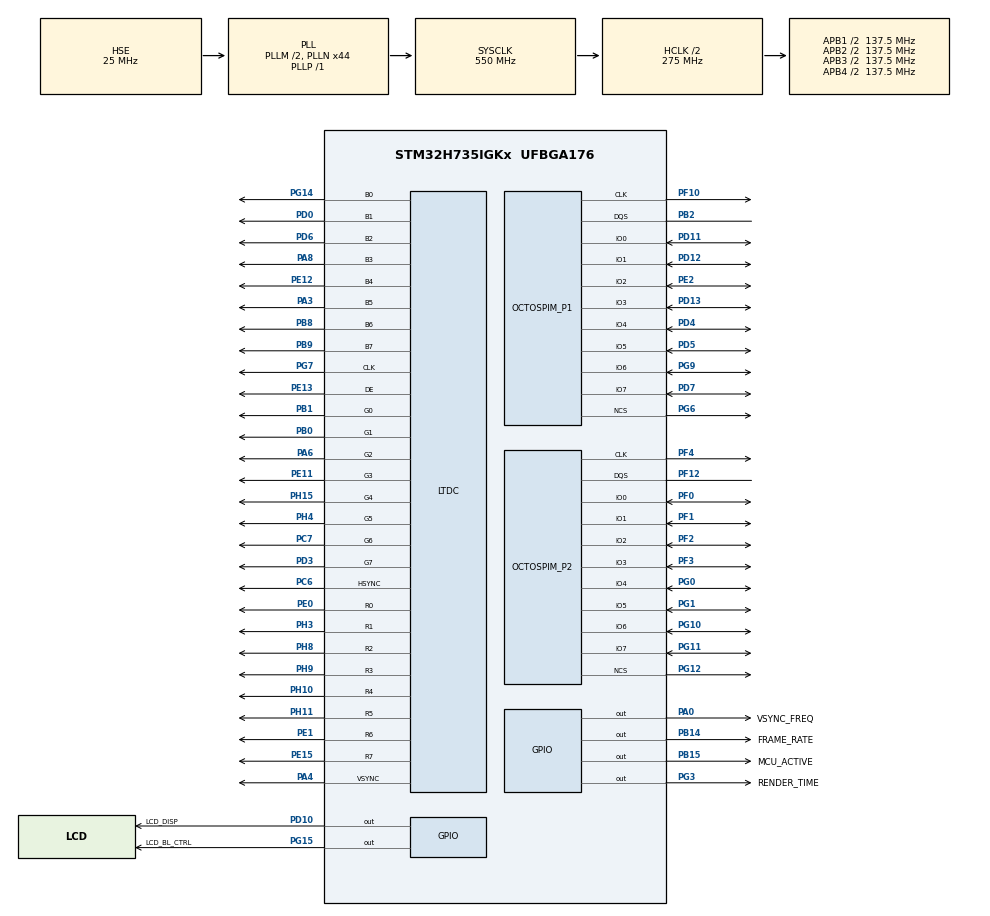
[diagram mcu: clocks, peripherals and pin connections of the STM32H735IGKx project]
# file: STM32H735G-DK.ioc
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CORTEX_M7.AccessPermission-Cortex_Memory_Protection_Unit_Region0_Settings=MPU_REGION_FULL_ACCESS
CORTEX_M7.AccessPermission-Cortex_Memory_Protection_Unit_Region2_Settings=MPU_REGION_FULL_ACCESS
CORTEX_M7.AccessPermission-Cortex_Memory_Protection_Unit_Region4_Settings=MPU_REGION_FULL_ACCESS
CORTEX_M7.BaseAddress-Cortex_Memory_Protection_Unit_Region0_Settings=0x24000000
CORTEX_M7.BaseAddress-Cortex_Memory_Protection_Unit_Region1_Settings=0x70000000
CORTEX_M7.BaseAddress-Cortex_Memory_Protection_Unit_Region2_Settings=0x70000000
CORTEX_M7.BaseAddress-Cortex_Memory_Protection_Unit_Region3_Settings=0x90000000
CORTEX_M7.BaseAddress-Cortex_Memory_Protection_Unit_Region4_Settings=0x90000000
CORTEX_M7.CPU_DCache=Enabled
CORTEX_M7.CPU_ICache=Enabled
CORTEX_M7.DisableExec-Cortex_Memory_Protection_Unit_Region0_Settings=MPU_INSTRUCTION_ACCESS_DISABLE
CORTEX_M7.DisableExec-Cortex_Memory_Protection_Unit_Region1_Settings=MPU_INSTRUCTION_ACCESS_DISABLE
CORTEX_M7.DisableExec-Cortex_Memory_Protection_Unit_Region2_Settings=MPU_INSTRUCTION_ACCESS_DISABLE
CORTEX_M7.DisableExec-Cortex_Memory_Protection_Unit_Region3_Settings=MPU_INSTRUCTION_ACCESS_DISABLE
CORTEX_M7.DisableExec-Cortex_Memory_Protection_Unit_Region4_Settings=MPU_INSTRUCTION_ACCESS_DISABLE
CORTEX_M7.Enable-Cortex_Memory_Protection_Unit_Region0_Settings=MPU_REGION_ENABLE
CORTEX_M7.Enable-Cortex_Memory_Protection_Unit_Region1_Settings=MPU_REGION_ENABLE
CORTEX_M7.Enable-Cortex_Memory_Protection_Unit_Region2_Settings=MPU_REGION_ENABLE
CORTEX_M7.Enable-Cortex_Memory_Protection_Unit_Region3_Settings=MPU_REGION_ENABLE
CORTEX_M7.Enable-Cortex_Memory_Protection_Unit_Region4_Settings=MPU_REGION_ENABLE
CORTEX_M7.IsBufferable-Cortex_Memory_Protection_Unit_Region0_Settings=MPU_ACCESS_BUFFERABLE
CORTEX_M7.IsBufferable-Cortex_Memory_Protection_Unit_Region2_Settings=MPU_ACCESS_BUFFERABLE
CORTEX_M7.IsCacheable-Cortex_Memory_Protection_Unit_Region0_Settings=MPU_ACCESS_CACHEABLE
CORTEX_M7.IsCacheable-Cortex_Memory_Protection_Unit_Region2_Settings=MPU_ACCESS_CACHEABLE
CORTEX_M7.IsCacheable-Cortex_Memory_Protection_Unit_Region4_Settings=MPU_ACCESS_CACHEABLE
CORTEX_M7.MPU_Control=MPU_PRIVILEGED_DEFAULT
CORTEX_M7.Size-Cortex_Memory_Protection_Unit_Region0_Settings=MPU_REGION_SIZE_512KB
CORTEX_M7.Size-Cortex_Memory_Protection_Unit_Region1_Settings=MPU_REGION_SIZE_512MB
CORTEX_M7.Size-Cortex_Memory_Protection_Unit_Region2_Settings=MPU_REGION_SIZE_8MB
CORTEX_M7.Size-Cortex_Memory_Protection_Unit_Region3_Settings=MPU_REGION_SIZE_512MB
CORTEX_M7.Size-Cortex_Memory_Protection_Unit_Region4_Settings=MPU_REGION_SIZE_64MB
DMA2D.ColorMode=DMA2D_OUTPUT_RGB888
DMA2D.Mode=DMA2D_R2M
FREERTOS.Tasks01=defaultTask,24,128,StartDefaultTask,Default,NULL,Dynamic,NULL,NULL;TouchGFXTask,24,1024,TouchGFX_Task,As external,NULL,Dynamic,NULL,NULL;videoTask,8,1024,videoTaskFunc,As external,NULL,Dynamic,NULL,NULL
FREERTOS.configTOTAL_HEAP_SIZE=75000
FREERTOS.configUSE_APPLICATION_TASK_TAG=1
FREERTOS.configUSE_IDLE_HOOK=1
FREERTOS.configUSE_NEWLIB_REENTRANT=1
LIBJPEG.RGB_ORDERING=BGR
LTDC.ActiveH=272
LTDC.ActiveW=480
LTDC.Alpha_L0=255
LTDC.FBStartAdress_L0=0x70000000
LTDC.FBStartAdress_L1=0x70000000
LTDC.HBP=13
LTDC.HFP=32
LTDC.HSync=41
LTDC.ImageHeight_L0=272
LTDC.ImageWidth_L0=480
LTDC.Layers=0
LTDC.PixelFormat_L0=LTDC_PIXEL_FORMAT_RGB888
LTDC.VSync=10
LTDC.WindowX1_L0=480
LTDC.WindowY1_L0=272
Mcu.Family=STM32H7
Mcu.Name=STM32H735IGKx
Mcu.Package=UFBGA176
NVIC.DMA2D_IRQn=true\:5\:0\:true\:false\:true\:false\:true\:true\:true
NVIC.LTDC_IRQn=true\:5\:0\:true\:false\:true\:false\:true\:true\:true
NVIC.PriorityGroup=NVIC_PRIORITYGROUP_4
NVIC.TIM6_DAC_IRQn=true\:0\:0\:false\:false\:true\:false\:false\:true\:true
NVIC.TimeBase=TIM6_DAC_IRQn
NVIC.TimeBaseIP=TIM6
OCTOSPI1.ChipSelectBoundary=0
OCTOSPI1.ChipSelectHighTime=2
OCTOSPI1.ClockPrescaler=2
OCTOSPI1.FifoThreshold=4
OCTOSPI1.MemoryType=HAL_OSPI_MEMTYPE_MACRONIX
OCTOSPI2.AccessTime=6
OCTOSPI2.ChipSelectBoundary=23
OCTOSPI2.ChipSelectHighTime=4
OCTOSPI2.ClkChipSelectHighTime=0
OCTOSPI2.ClockPrescaler=2
OCTOSPI2.DelayBlockBypass=HAL_OSPI_DELAY_BLOCK_USED
OCTOSPI2.DelayHoldQuarterCycle=HAL_OSPI_DHQC_ENABLE
OCTOSPI2.DeviceSize=24
OCTOSPI2.FifoThreshold=4
OCTOSPI2.LatencyMode=HAL_OSPI_FIXED_LATENCY
OCTOSPI2.RWRecoveryTime=3
OCTOSPI2.Refresh=400
OCTOSPI2.WriteZeroLatency=HAL_OSPI_LATENCY_ON_WRITE
PA0.GPIO_Label=VSYNC_FREQ
PA0.GPIO_Speed=GPIO_SPEED_FREQ_VERY_HIGH
PA0.Signal=GPIO_Output
PA13(JTMS/SWDIO).Mode=Serial_Wire
PA13(JTMS/SWDIO).Signal=DEBUG_JTMS-SWDIO
PA14(JTCK/SWCLK).Mode=Serial_Wire
PA14(JTCK/SWCLK).Signal=DEBUG_JTCK-SWCLK
PA3.GPIO_Speed=GPIO_SPEED_FREQ_VERY_HIGH
PA3.Mode=RGB888
PA3.Signal=LTDC_B5
PA4.GPIO_Speed=GPIO_SPEED_FREQ_VERY_HIGH
PA4.Mode=RGB888
PA4.Signal=LTDC_VSYNC
PA6.GPIO_Speed=GPIO_SPEED_FREQ_VERY_HIGH
PA6.Mode=RGB888
PA6.Signal=LTDC_G2
PA8.GPIO_Speed=GPIO_SPEED_FREQ_VERY_HIGH
PA8.Mode=RGB888
PA8.Signal=LTDC_B3
PB0.GPIO_Speed=GPIO_SPEED_FREQ_VERY_HIGH
PB0.Mode=RGB888
PB0.Signal=LTDC_G1
PB1.GPIO_Speed=GPIO_SPEED_FREQ_VERY_HIGH
PB1.Mode=RGB888
PB1.Signal=LTDC_G0
PB14.GPIO_Label=FRAME_RATE
PB14.GPIO_Speed=GPIO_SPEED_FREQ_VERY_HIGH
PB14.Signal=GPIO_Output
PB15.GPIO_Label=MCU_ACTIVE
PB15.GPIO_Speed=GPIO_SPEED_FREQ_VERY_HIGH
PB15.Signal=GPIO_Output
PB2.Mode=OCTOSPI1_Port1_DQS
PB2.Signal=OCTOSPIM_P1_DQS
PB8.GPIO_Speed=GPIO_SPEED_FREQ_VERY_HIGH
PB8.Mode=RGB888
PB8.Signal=LTDC_B6
PB9.GPIO_Speed=GPIO_SPEED_FREQ_VERY_HIGH
PB9.Mode=RGB888
PB9.Signal=LTDC_B7
PC6.GPIO_Speed=GPIO_SPEED_FREQ_VERY_HIGH
PC6.Mode=RGB888
PC6.Signal=LTDC_HSYNC
PC7.GPIO_Speed=GPIO_SPEED_FREQ_VERY_HIGH
PC7.Mode=RGB888
PC7.Signal=LTDC_G6
PD0.GPIO_Speed=GPIO_SPEED_FREQ_VERY_HIGH
PD0.Mode=RGB888
PD0.Signal=LTDC_B1
PD10.GPIO_Label=LCD_DISP
PD10.GPIO_PuPd=GPIO_NOPULL
PD10.GPIO_Speed=GPIO_SPEED_FREQ_LOW
PD10.PinState=GPIO_PIN_RESET
PD10.Signal=GPIO_Output
PD11.Mode=OCTOSPI1_IOL_Port1L
PD11.Signal=OCTOSPIM_P1_IO0
PD12.Mode=OCTOSPI1_IOL_Port1L
PD12.Signal=OCTOSPIM_P1_IO1
PD13.Mode=OCTOSPI1_IOL_Port1L
PD13.Signal=OCTOSPIM_P1_IO3
PD3.GPIO_Speed=GPIO_SPEED_FREQ_VERY_HIGH
PD3.Mode=RGB888
PD3.Signal=LTDC_G7
PD4.Mode=OCTOSPI1_IOH_Port1H
PD4.Signal=OCTOSPIM_P1_IO4
PD5.Mode=OCTOSPI1_IOH_Port1H
PD5.Signal=OCTOSPIM_P1_IO5
PD6.GPIO_Speed=GPIO_SPEED_FREQ_VERY_HIGH
PD6.Mode=RGB888
PD6.Signal=LTDC_B2
PD7.Mode=OCTOSPI1_IOH_Port1H
PD7.Signal=OCTOSPIM_P1_IO7
PE0.GPIO_Speed=GPIO_SPEED_FREQ_VERY_HIGH
PE0.Mode=RGB888
PE0.Signal=LTDC_R0
PE1.GPIO_Speed=GPIO_SPEED_FREQ_VERY_HIGH
PE1.Mode=RGB888
PE1.Signal=LTDC_R6
PE11.GPIO_Speed=GPIO_SPEED_FREQ_VERY_HIGH
PE11.Mode=RGB888
PE11.Signal=LTDC_G3
PE12.GPIO_Speed=GPIO_SPEED_FREQ_VERY_HIGH
PE12.Mode=RGB888
PE12.Signal=LTDC_B4
PE13.GPIO_Speed=GPIO_SPEED_FREQ_VERY_HIGH
PE13.Mode=RGB888
PE13.Signal=LTDC_DE
PE15.GPIO_Speed=GPIO_SPEED_FREQ_VERY_HIGH
PE15.Mode=RGB888
PE15.Signal=LTDC_R7
PE2.Mode=OCTOSPI1_IOL_Port1L
PE2.Signal=OCTOSPIM_P1_IO2
PF0.Mode=OCTOSPI2_IOL_Port2L
PF0.Signal=OCTOSPIM_P2_IO0
PF1.Mode=OCTOSPI2_IOL_Port2L
PF1.Signal=OCTOSPIM_P2_IO1
PF10.Mode=O1_P1_CLK
PF10.Signal=OCTOSPIM_P1_CLK
PF12.Mode=OCTOSPI2_Port2_DQS
PF12.Signal=OCTOSPIM_P2_DQS
PF2.Mode=OCTOSPI2_IOL_Port2L
PF2.Signal=OCTOSPIM_P2_IO2
PF3.Mode=OCTOSPI2_IOL_Port2L
PF3.Signal=OCTOSPIM_P2_IO3
PF4.Mode=O2_P2_CLK
PF4.Signal=OCTOSPIM_P2_CLK
PG0.Mode=OCTOSPI2_IOH_Port2H
PG0.Signal=OCTOSPIM_P2_IO4
PG1.Mode=OCTOSPI2_IOH_Port2H
PG1.Signal=OCTOSPIM_P2_IO5
PG10.Mode=OCTOSPI2_IOH_Port2H
PG10.Signal=OCTOSPIM_P2_IO6
PG11.Mode=OCTOSPI2_IOH_Port2H
PG11.Signal=OCTOSPIM_P2_IO7
PG12.Mode=OCTOSPI2_Port2_NCS
PG12.Signal=OCTOSPIM_P2_NCS
PG14.GPIO_Speed=GPIO_SPEED_FREQ_VERY_HIGH
PG14.Mode=RGB888
PG14.Signal=LTDC_B0
PG15.GPIO_Label=LCD_BL_CTRL
PG15.Signal=GPIO_Output
PG3.GPIO_Label=RENDER_TIME
PG3.GPIO_Speed=GPIO_SPEED_FREQ_VERY_HIGH
PG3.Signal=GPIO_Output
PG6.Mode=OCTOSPI1_Port1_NCS
PG6.Signal=OCTOSPIM_P1_NCS
PG7.GPIO_Speed=GPIO_SPEED_FREQ_VERY_HIGH
PG7.Mode=RGB888
PG7.Signal=LTDC_CLK
PG9.Mode=OCTOSPI1_IOH_Port1H
PG9.Signal=OCTOSPIM_P1_IO6
PH0-OSC_IN.Mode=HSE-External-Oscillator
PH0-OSC_IN.Signal=RCC_OSC_IN
PH1-OSC_OUT.Mode=HSE-External-Oscillator
PH1-OSC_OUT.Signal=RCC_OSC_OUT
PH10.GPIO_Speed=GPIO_SPEED_FREQ_VERY_HIGH
PH10.Mode=RGB888
PH10.Signal=LTDC_R4
PH11.GPIO_Speed=GPIO_SPEED_FREQ_VERY_HIGH
PH11.Mode=RGB888
PH11.Signal=LTDC_R5
PH15.GPIO_Speed=GPIO_SPEED_FREQ_VERY_HIGH
PH15.Mode=RGB888
PH15.Signal=LTDC_G4
PH3.GPIO_Speed=GPIO_SPEED_FREQ_VERY_HIGH
PH3.Mode=RGB888
PH3.Signal=LTDC_R1
PH4.GPIO_Speed=GPIO_SPEED_FREQ_VERY_HIGH
PH4.Mode=RGB888
PH4.Signal=LTDC_G5
PH8.GPIO_Speed=GPIO_SPEED_FREQ_VERY_HIGH
PH8.Mode=RGB888
PH8.Signal=LTDC_R2
PH9.GPIO_Speed=GPIO_SPEED_FREQ_VERY_HIGH
PH9.Mode=RGB888
PH9.Signal=LTDC_R3
ProjectManager.HeapSize=0x1000
ProjectManager.StackSize=0x1000
ProjectManager.TargetToolchain=STM32CubeIDE
RCC.ADCFreq_Value=200000000
RCC.APB1Freq_Value=137500000
RCC.APB2Freq_Value=137500000
RCC.APB3Freq_Value=137500000
RCC.APB4Freq_Value=137500000
RCC.CortexFreq_Value=550000000
RCC.D1PPRE=RCC_APB3_DIV2
RCC.D2PPRE1=RCC_APB1_DIV2
RCC.D2PPRE2=RCC_APB2_DIV2
RCC.D3PPRE=RCC_APB4_DIV2
RCC.DIVM1=2
RCC.DIVM2=5
RCC.DIVM3=25
RCC.DIVN1=44
RCC.DIVN2=80
RCC.DIVN3=288
RCC.DIVP1=1
RCC.DIVR3=30
RCC.HCLKFreq_Value=275000000
RCC.HPRE=RCC_HCLK_DIV2
RCC.PLL2FRACN=0
RCC.PLL3FRACN=0
RCC.PLLFRACN=0
RCC.PLLSourceVirtual=RCC_PLLSOURCE_HSE
RCC.QSPICLockSelection=RCC_OSPICLKSOURCE_PLL2
RCC.SYSCLKFreq_VALUE=550000000
RCC.SYSCLKSource=RCC_SYSCLKSOURCE_PLLCLK
RCC.SupplySource=PWR_DIRECT_SMPS_SUPPLY
RCC.USBFreq_Value=275000000
STMicroelectronics.X-CUBE-TOUCHGFX.4.24.0.ApplicationCcGraphicsJjApplication=TouchGFXOoGenerator
STMicroelectronics.X-CUBE-TOUCHGFX.4.24.0.tgfx_address1=0x70000000
STMicroelectronics.X-CUBE-TOUCHGFX.4.24.0.tgfx_address2=0x70060000
STMicroelectronics.X-CUBE-TOUCHGFX.4.24.0.tgfx_buffering_strategy=Double
STMicroelectronics.X-CUBE-TOUCHGFX.4.24.0.tgfx_display_interface=disp_ltdc
STMicroelectronics.X-CUBE-TOUCHGFX.4.24.0.tgfx_hardware_accelerator=dma_2d
STMicroelectronics.X-CUBE-TOUCHGFX.4.24.0.tgfx_location=Allocate
STMicroelectronics.X-CUBE-TOUCHGFX.4.24.0.tgfx_vector_fonts=Enabled
STMicroelectronics.X-CUBE-TOUCHGFX.4.24.0.tgfx_vector_rendering=Software
STMicroelectronics.X-CUBE-TOUCHGFX.4.24.0.tgfx_video=Software
STMicroelectronics.X-CUBE-TOUCHGFX.4.24.0.tgfx_video_buffer_format=RGB888\:3
STMicroelectronics.X-CUBE-TOUCHGFX.4.24.0.tgfx_video_height=272
STMicroelectronics.X-CUBE-TOUCHGFX.4.24.0.tgfx_video_strategy=1
STMicroelectronics.X-CUBE-TOUCHGFX.4.24.0.tgfx_video_width=480
STMicroelectronics.X-CUBE-TOUCHGFX.4.24.0.tgfx_vsync=vsync_ltdc
VP_CRC_VS_CRC.Mode=CRC_Activate
VP_DMA2D_VS_DMA2D.Mode=DMA2D_Activate
VP_FREERTOS_VS_CMSIS_V2.Mode=CMSIS_V2
VP_LIBJPEG_VS_JPEGLIB.Mode=Enabled
VP_MEMORYMAP_VS_MEMORYMAP.Mode=CurAppReg
VP_OCTOSPI1_VS_octo.Mode=octo_mode
VP_OCTOSPI2_VS_octo.Mode=hyperbus_mode
VP_STMicroelectronics.X-CUBE-TOUCHGFX_VS_GraphicsJjApplication_4.24.0.Mode=GraphicsJjApplication
VP_SYS_VS_tim6.Mode=TIM6
board=custom

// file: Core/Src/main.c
/* USER CODE BEGIN Header */
/**
  ******************************************************************************
  * @file           : main.c
  * @brief          : Main program body
  ******************************************************************************
  * @attention
  *
  * <h2><center>&copy; Copyright (c) 2020 STMicroelectronics.
  * All rights reserved.</center></h2>
  *
  * This software component is licensed by ST under Ultimate Liberty license
  * SLA0044, the "License"; You may not use this file except in compliance with
  * the License. You may obtain a copy of the License at:
  *                             www.st.com/SLA0044
  *
  ******************************************************************************
  */
/* USER CODE END Header */
#include "main.h"
#include "cmsis_os.h"
#include "libjpeg.h"
#include "app_touchgfx.h"

/* USER CODE BEGIN Includes */
#include "stm32h735g_discovery_ospi.h"
#include "stm32h7xx_hal_ospi.h"
/* USER CODE END Includes */

CRC_HandleTypeDef hcrc;

DMA2D_HandleTypeDef hdma2d;

LTDC_HandleTypeDef hltdc;

OSPI_HandleTypeDef hospi1;
OSPI_HandleTypeDef hospi2;

/* Definitions for defaultTask */
osThreadId_t defaultTaskHandle;
const osThreadAttr_t defaultTask_attributes = {
  .name = "defaultTask",
  .stack_size = 128 * 4,
  .priority = (osPriority_t) osPriorityNormal,
};
/* Definitions for TouchGFXTask */
osThreadId_t TouchGFXTaskHandle;
const osThreadAttr_t TouchGFXTask_attributes = {
  .name = "TouchGFXTask",
  .stack_size = 1024 * 4,
  .priority = (osPriority_t) osPriorityNormal,
};
/* Definitions for videoTask */
osThreadId_t videoTaskHandle;
const osThreadAttr_t videoTask_attributes = {
  .name = "videoTask",
  .stack_size = 1024 * 4,
  .priority = (osPriority_t) osPriorityLow,
};

void SystemClock_Config(void);
void PeriphCommonClock_Config(void);
static void MPU_Config(void);
static void MX_GPIO_Init(void);
static void MX_CRC_Init(void);
static void MX_DMA2D_Init(void);
static void MX_LTDC_Init(void);
static void MX_OCTOSPI1_Init(void);
static void MX_OCTOSPI2_Init(void);
void StartDefaultTask(void *argument);
extern void TouchGFX_Task(void *argument);
extern void videoTaskFunc(void *argument);

int main(void)
{

  /* MPU Configuration--------------------------------------------------------*/
  MPU_Config();

  /* Enable the CPU Cache */

  /* Enable I-Cache---------------------------------------------------------*/
  SCB_EnableICache();

  /* Enable D-Cache---------------------------------------------------------*/
  SCB_EnableDCache();

  /* MCU Configuration--------------------------------------------------------*/

  /* Reset of all peripherals, Initializes the Flash interface and the Systick. */
  HAL_Init();

  /* Configure the system clock */
  SystemClock_Config();

  /* Configure the peripherals common clocks */
  PeriphCommonClock_Config();

  /* Initialize all configured peripherals */
  MX_GPIO_Init();
  MX_CRC_Init();
  MX_DMA2D_Init();
  MX_LTDC_Init();
  MX_OCTOSPI1_Init();
  MX_OCTOSPI2_Init();
  MX_LIBJPEG_Init();
  MX_TouchGFX_Init();
  /* Call PreOsInit function */
  MX_TouchGFX_PreOSInit();

  /* Init scheduler */
  osKernelInitialize();

  /* Create the thread(s) */
  /* creation of defaultTask */
  defaultTaskHandle = osThreadNew(StartDefaultTask, NULL, &defaultTask_attributes);

  /* creation of TouchGFXTask */
  TouchGFXTaskHandle = osThreadNew(TouchGFX_Task, NULL, &TouchGFXTask_attributes);

  /* creation of videoTask */
  videoTaskHandle = osThreadNew(videoTaskFunc, NULL, &videoTask_attributes);

  /* Start scheduler */
  osKernelStart();

  /* We should never get here as control is now taken by the scheduler */

  /* Infinite loop */
  while (1)
  {

  }
}

void SystemClock_Config(void)
{
  RCC_OscInitTypeDef RCC_OscInitStruct = {0};
  RCC_ClkInitTypeDef RCC_ClkInitStruct = {0};

  /** Supply configuration update enable
  */
  HAL_PWREx_ConfigSupply(PWR_DIRECT_SMPS_SUPPLY);

  /** Configure the main internal regulator output voltage
  */
  __HAL_PWR_VOLTAGESCALING_CONFIG(PWR_REGULATOR_VOLTAGE_SCALE0);

  while(!__HAL_PWR_GET_FLAG(PWR_FLAG_VOSRDY)) {}

  /** Initializes the RCC Oscillators according to the specified parameters
  * in the RCC_OscInitTypeDef structure.
  */
  RCC_OscInitStruct.OscillatorType = RCC_OSCILLATORTYPE_HSE;
  RCC_OscInitStruct.HSEState = RCC_HSE_ON;
  RCC_OscInitStruct.PLL.PLLState = RCC_PLL_ON;
  RCC_OscInitStruct.PLL.PLLSource = RCC_PLLSOURCE_HSE;
  RCC_OscInitStruct.PLL.PLLM = 2;
  RCC_OscInitStruct.PLL.PLLN = 44;
  RCC_OscInitStruct.PLL.PLLP = 1;
  RCC_OscInitStruct.PLL.PLLQ = 2;
  RCC_OscInitStruct.PLL.PLLR = 2;
  RCC_OscInitStruct.PLL.PLLRGE = RCC_PLL1VCIRANGE_3;
  RCC_OscInitStruct.PLL.PLLVCOSEL = RCC_PLL1VCOWIDE;
  RCC_OscInitStruct.PLL.PLLFRACN = 0;
  if (HAL_RCC_OscConfig(&RCC_OscInitStruct) != HAL_OK)
  {
    Error_Handler();
  }

  /** Initializes the CPU, AHB and APB buses clocks
  */
  RCC_ClkInitStruct.ClockType = RCC_CLOCKTYPE_HCLK|RCC_CLOCKTYPE_SYSCLK
                              |RCC_CLOCKTYPE_PCLK1|RCC_CLOCKTYPE_PCLK2
                              |RCC_CLOCKTYPE_D3PCLK1|RCC_CLOCKTYPE_D1PCLK1;
  RCC_ClkInitStruct.SYSCLKSource = RCC_SYSCLKSOURCE_PLLCLK;
  RCC_ClkInitStruct.SYSCLKDivider = RCC_SYSCLK_DIV1;
  RCC_ClkInitStruct.AHBCLKDivider = RCC_HCLK_DIV2;
  RCC_ClkInitStruct.APB3CLKDivider = RCC_APB3_DIV2;
  RCC_ClkInitStruct.APB1CLKDivider = RCC_APB1_DIV2;
  RCC_ClkInitStruct.APB2CLKDivider = RCC_APB2_DIV2;
  RCC_ClkInitStruct.APB4CLKDivider = RCC_APB4_DIV2;

  if (HAL_RCC_ClockConfig(&RCC_ClkInitStruct, FLASH_LATENCY_3) != HAL_OK)
  {
    Error_Handler();
  }
}

void PeriphCommonClock_Config(void)
{
  RCC_PeriphCLKInitTypeDef PeriphClkInitStruct = {0};

  /** Initializes the peripherals clock
  */
  PeriphClkInitStruct.PeriphClockSelection = RCC_PERIPHCLK_OSPI;
  PeriphClkInitStruct.PLL2.PLL2M = 5;
  PeriphClkInitStruct.PLL2.PLL2N = 80;
  PeriphClkInitStruct.PLL2.PLL2P = 2;
  PeriphClkInitStruct.PLL2.PLL2Q = 2;
  PeriphClkInitStruct.PLL2.PLL2R = 2;
  PeriphClkInitStruct.PLL2.PLL2RGE = RCC_PLL2VCIRANGE_2;
  PeriphClkInitStruct.PLL2.PLL2VCOSEL = RCC_PLL2VCOWIDE;
  PeriphClkInitStruct.PLL2.PLL2FRACN = 0;
  PeriphClkInitStruct.OspiClockSelection = RCC_OSPICLKSOURCE_PLL2;
  if (HAL_RCCEx_PeriphCLKConfig(&PeriphClkInitStruct) != HAL_OK)
  {
    Error_Handler();
  }
}

static void MX_CRC_Init(void)
{

  hcrc.Instance = CRC;
  hcrc.Init.DefaultPolynomialUse = DEFAULT_POLYNOMIAL_ENABLE;
  hcrc.Init.DefaultInitValueUse = DEFAULT_INIT_VALUE_ENABLE;
  hcrc.Init.InputDataInversionMode = CRC_INPUTDATA_INVERSION_NONE;
  hcrc.Init.OutputDataInversionMode = CRC_OUTPUTDATA_INVERSION_DISABLE;
  hcrc.InputDataFormat = CRC_INPUTDATA_FORMAT_BYTES;
  if (HAL_CRC_Init(&hcrc) != HAL_OK)
  {
    Error_Handler();
  }

}

static void MX_DMA2D_Init(void)
{

  hdma2d.Instance = DMA2D;
  hdma2d.Init.Mode = DMA2D_R2M;
  hdma2d.Init.ColorMode = DMA2D_OUTPUT_RGB888;
  hdma2d.Init.OutputOffset = 0;
  if (HAL_DMA2D_Init(&hdma2d) != HAL_OK)
  {
    Error_Handler();
  }

}

static void MX_LTDC_Init(void)
{

  LTDC_LayerCfgTypeDef pLayerCfg = {0};

  hltdc.Instance = LTDC;
  hltdc.Init.HSPolarity = LTDC_HSPOLARITY_AL;
  hltdc.Init.VSPolarity = LTDC_VSPOLARITY_AL;
  hltdc.Init.DEPolarity = LTDC_DEPOLARITY_AL;
  hltdc.Init.PCPolarity = LTDC_PCPOLARITY_IPC;
  hltdc.Init.HorizontalSync = 40;
  hltdc.Init.VerticalSync = 9;
  hltdc.Init.AccumulatedHBP = 53;
  hltdc.Init.AccumulatedVBP = 11;
  hltdc.Init.AccumulatedActiveW = 533;
  hltdc.Init.AccumulatedActiveH = 283;
  hltdc.Init.TotalWidth = 565;
  hltdc.Init.TotalHeigh = 285;
  hltdc.Init.Backcolor.Blue = 0;
  hltdc.Init.Backcolor.Green = 0;
  hltdc.Init.Backcolor.Red = 0;
  if (HAL_LTDC_Init(&hltdc) != HAL_OK)
  {
    Error_Handler();
  }
  pLayerCfg.WindowX0 = 0;
  pLayerCfg.WindowX1 = 480;
  pLayerCfg.WindowY0 = 0;
  pLayerCfg.WindowY1 = 272;
  pLayerCfg.PixelFormat = LTDC_PIXEL_FORMAT_RGB888;
  pLayerCfg.Alpha = 255;
  pLayerCfg.Alpha0 = 0;
  pLayerCfg.BlendingFactor1 = LTDC_BLENDING_FACTOR1_CA;
  pLayerCfg.BlendingFactor2 = LTDC_BLENDING_FACTOR2_CA;
  pLayerCfg.FBStartAdress = 0x70000000;
  pLayerCfg.ImageWidth = 480;
  pLayerCfg.ImageHeight = 272;
  pLayerCfg.Backcolor.Blue = 0;
  pLayerCfg.Backcolor.Green = 0;
  pLayerCfg.Backcolor.Red = 0;
  if (HAL_LTDC_ConfigLayer(&hltdc, &pLayerCfg, 0) != HAL_OK)
  {
    Error_Handler();
  }

}

static void MX_OCTOSPI1_Init(void)
{

  /* USER CODE BEGIN OCTOSPI1_Init 0 */
  BSP_OSPI_NOR_Init_t ospi_nor_int;
  /* USER CODE END OCTOSPI1_Init 0 */

  OSPIM_CfgTypeDef sOspiManagerCfg = {0};

  /* OCTOSPI1 parameter configuration*/
  hospi1.Instance = OCTOSPI1;
  hospi1.Init.FifoThreshold = 4;
  hospi1.Init.DualQuad = HAL_OSPI_DUALQUAD_DISABLE;
  hospi1.Init.MemoryType = HAL_OSPI_MEMTYPE_MACRONIX;
  hospi1.Init.DeviceSize = 32;
  hospi1.Init.ChipSelectHighTime = 2;
  hospi1.Init.FreeRunningClock = HAL_OSPI_FREERUNCLK_DISABLE;
  hospi1.Init.ClockMode = HAL_OSPI_CLOCK_MODE_0;
  hospi1.Init.WrapSize = HAL_OSPI_WRAP_NOT_SUPPORTED;
  hospi1.Init.ClockPrescaler = 2;
  hospi1.Init.SampleShifting = HAL_OSPI_SAMPLE_SHIFTING_NONE;
  hospi1.Init.DelayHoldQuarterCycle = HAL_OSPI_DHQC_DISABLE;
  hospi1.Init.ChipSelectBoundary = 0;
  hospi1.Init.DelayBlockBypass = HAL_OSPI_DELAY_BLOCK_BYPASSED;
  hospi1.Init.MaxTran = 0;
  hospi1.Init.Refresh = 0;
  if (HAL_OSPI_Init(&hospi1) != HAL_OK)
  {
    Error_Handler();
  }
  sOspiManagerCfg.ClkPort = 1;
  sOspiManagerCfg.DQSPort = 1;
  sOspiManagerCfg.NCSPort = 1;
  sOspiManagerCfg.IOLowPort = HAL_OSPIM_IOPORT_1_LOW;
  sOspiManagerCfg.IOHighPort = HAL_OSPIM_IOPORT_1_HIGH;
  if (HAL_OSPIM_Config(&hospi1, &sOspiManagerCfg, HAL_OSPI_TIMEOUT_DEFAULT_VALUE) != HAL_OK)
  {
    Error_Handler();
  }
  /* USER CODE BEGIN OCTOSPI1_Init 2 */
  HAL_OSPI_DeInit(&hospi1);
  ospi_nor_int.InterfaceMode = BSP_OSPI_NOR_OPI_MODE;
  ospi_nor_int.TransferRate  = BSP_OSPI_NOR_DTR_TRANSFER;
  BSP_OSPI_NOR_DeInit(0);
  if(BSP_OSPI_NOR_Init(0, &ospi_nor_int) != BSP_ERROR_NONE)
  {
    Error_Handler();
  }
  if(BSP_OSPI_NOR_EnableMemoryMappedMode(0) != BSP_ERROR_NONE)
  {
    Error_Handler();
  }
  /* USER CODE END OCTOSPI1_Init 2 */

}

static void MX_OCTOSPI2_Init(void)
{

  /* USER CODE BEGIN OCTOSPI2_Init 0 */
  BSP_OSPI_RAM_Init_t ospi_ram_init;
  /* USER CODE END OCTOSPI2_Init 0 */

  OSPIM_CfgTypeDef sOspiManagerCfg = {0};
  OSPI_HyperbusCfgTypeDef sHyperBusCfg = {0};

  /* USER CODE BEGIN OCTOSPI2_Init 1 */
  OSPI_HyperbusCmdTypeDef sCommand = {0};
  OSPI_MemoryMappedTypeDef sMemMappedCfg = {0};
  /* USER CODE END OCTOSPI2_Init 1 */
  /* OCTOSPI2 parameter configuration*/
  hospi2.Instance = OCTOSPI2;
  hospi2.Init.FifoThreshold = 4;
  hospi2.Init.DualQuad = HAL_OSPI_DUALQUAD_DISABLE;
  hospi2.Init.MemoryType = HAL_OSPI_MEMTYPE_HYPERBUS;
  hospi2.Init.DeviceSize = 24;
  hospi2.Init.ChipSelectHighTime = 4;
  hospi2.Init.FreeRunningClock = HAL_OSPI_FREERUNCLK_DISABLE;
  hospi2.Init.ClockMode = HAL_OSPI_CLOCK_MODE_0;
  hospi2.Init.WrapSize = HAL_OSPI_WRAP_NOT_SUPPORTED;
  hospi2.Init.ClockPrescaler = 2;
  hospi2.Init.SampleShifting = HAL_OSPI_SAMPLE_SHIFTING_NONE;
  hospi2.Init.DelayHoldQuarterCycle = HAL_OSPI_DHQC_ENABLE;
  hospi2.Init.ChipSelectBoundary = 23;
  hospi2.Init.DelayBlockBypass = HAL_OSPI_DELAY_BLOCK_USED;
  hospi2.Init.MaxTran = 0;
  hospi2.Init.Refresh = 400;
  if (HAL_OSPI_Init(&hospi2) != HAL_OK)
  {
    Error_Handler();
  }
  sOspiManagerCfg.ClkPort = 2;
  sOspiManagerCfg.DQSPort = 2;
  sOspiManagerCfg.NCSPort = 2;
  sOspiManagerCfg.IOLowPort = HAL_OSPIM_IOPORT_2_LOW;
  sOspiManagerCfg.IOHighPort = HAL_OSPIM_IOPORT_2_HIGH;
  if (HAL_OSPIM_Config(&hospi2, &sOspiManagerCfg, HAL_OSPI_TIMEOUT_DEFAULT_VALUE) != HAL_OK)
  {
    Error_Handler();
  }
  sHyperBusCfg.RWRecoveryTime = 3;
  sHyperBusCfg.AccessTime = 6;
  sHyperBusCfg.WriteZeroLatency = HAL_OSPI_LATENCY_ON_WRITE;
  sHyperBusCfg.LatencyMode = HAL_OSPI_FIXED_LATENCY;
  if (HAL_OSPI_HyperbusCfg(&hospi2, &sHyperBusCfg, HAL_OSPI_TIMEOUT_DEFAULT_VALUE) != HAL_OK)
  {
    Error_Handler();
  }
  /* USER CODE BEGIN OCTOSPI2_Init 2 */
  sCommand.AddressSpace = HAL_OSPI_MEMORY_ADDRESS_SPACE;
  sCommand.AddressSize  = HAL_OSPI_ADDRESS_32_BITS;
  sCommand.DQSMode      = HAL_OSPI_DQS_ENABLE;
  sCommand.Address      = 0;
  sCommand.NbData       = 1;

  if (HAL_OSPI_HyperbusCmd(&hospi2, &sCommand, HAL_OSPI_TIMEOUT_DEFAULT_VALUE) != HAL_OK)
  {
    Error_Handler();
  }

  sMemMappedCfg.TimeOutActivation = HAL_OSPI_TIMEOUT_COUNTER_DISABLE;

  if (HAL_OSPI_MemoryMapped(&hospi2, &sMemMappedCfg) != HAL_OK)
  {
    Error_Handler();
  }

  /* USER CODE END OCTOSPI2_Init 2 */

}

static void MX_GPIO_Init(void)
{
  GPIO_InitTypeDef GPIO_InitStruct = {0};

  /* GPIO Ports Clock Enable */
  __HAL_RCC_GPIOB_CLK_ENABLE();
  __HAL_RCC_GPIOG_CLK_ENABLE();
  __HAL_RCC_GPIOD_CLK_ENABLE();
  __HAL_RCC_GPIOA_CLK_ENABLE();
  __HAL_RCC_GPIOE_CLK_ENABLE();
  __HAL_RCC_GPIOH_CLK_ENABLE();
  __HAL_RCC_GPIOC_CLK_ENABLE();
  __HAL_RCC_GPIOF_CLK_ENABLE();

  /*Configure GPIO pin Output Level */
  HAL_GPIO_WritePin(GPIOG, LCD_BL_CTRL_Pin|RENDER_TIME_Pin, GPIO_PIN_RESET);

  /*Configure GPIO pin Output Level */
  HAL_GPIO_WritePin(GPIOB, MCU_ACTIVE_Pin|FRAME_RATE_Pin, GPIO_PIN_RESET);

  /*Configure GPIO pin Output Level */
  HAL_GPIO_WritePin(LCD_DISP_GPIO_Port, LCD_DISP_Pin, GPIO_PIN_RESET);

  /*Configure GPIO pin Output Level */
  HAL_GPIO_WritePin(VSYNC_FREQ_GPIO_Port, VSYNC_FREQ_Pin, GPIO_PIN_RESET);

  /*Configure GPIO pin : LCD_BL_CTRL_Pin */
  GPIO_InitStruct.Pin = LCD_BL_CTRL_Pin;
  GPIO_InitStruct.Mode = GPIO_MODE_OUTPUT_PP;
  GPIO_InitStruct.Pull = GPIO_NOPULL;
  GPIO_InitStruct.Speed = GPIO_SPEED_FREQ_LOW;
  HAL_GPIO_Init(LCD_BL_CTRL_GPIO_Port, &GPIO_InitStruct);

  /*Configure GPIO pin : RENDER_TIME_Pin */
  GPIO_InitStruct.Pin = RENDER_TIME_Pin;
  GPIO_InitStruct.Mode = GPIO_MODE_OUTPUT_PP;
  GPIO_InitStruct.Pull = GPIO_NOPULL;
  GPIO_InitStruct.Speed = GPIO_SPEED_FREQ_VERY_HIGH;
  HAL_GPIO_Init(RENDER_TIME_GPIO_Port, &GPIO_InitStruct);

  /*Configure GPIO pins : MCU_ACTIVE_Pin FRAME_RATE_Pin */
  GPIO_InitStruct.Pin = MCU_ACTIVE_Pin|FRAME_RATE_Pin;
  GPIO_InitStruct.Mode = GPIO_MODE_OUTPUT_PP;
  GPIO_InitStruct.Pull = GPIO_NOPULL;
  GPIO_InitStruct.Speed = GPIO_SPEED_FREQ_VERY_HIGH;
  HAL_GPIO_Init(GPIOB, &GPIO_InitStruct);

  /*Configure GPIO pin : LCD_DISP_Pin */
  GPIO_InitStruct.Pin = LCD_DISP_Pin;
  GPIO_InitStruct.Mode = GPIO_MODE_OUTPUT_PP;
  GPIO_InitStruct.Pull = GPIO_NOPULL;
  GPIO_InitStruct.Speed = GPIO_SPEED_FREQ_LOW;
  HAL_GPIO_Init(LCD_DISP_GPIO_Port, &GPIO_InitStruct);

  /*Configure GPIO pin : VSYNC_FREQ_Pin */
  GPIO_InitStruct.Pin = VSYNC_FREQ_Pin;
  GPIO_InitStruct.Mode = GPIO_MODE_OUTPUT_PP;
  GPIO_InitStruct.Pull = GPIO_NOPULL;
  GPIO_InitStruct.Speed = GPIO_SPEED_FREQ_VERY_HIGH;
  HAL_GPIO_Init(VSYNC_FREQ_GPIO_Port, &GPIO_InitStruct);

}

void StartDefaultTask(void *argument)
{
  /* USER CODE BEGIN 5 */
  /* Infinite loop */
  for(;;)
  {
    osDelay(100);
  }
  /* USER CODE END 5 */
}

 /* MPU Configuration */

void MPU_Config(void)
{
  MPU_Region_InitTypeDef MPU_InitStruct = {0};

  /* Disables the MPU */
  HAL_MPU_Disable();

  /** Initializes and configures the Region and the memory to be protected
  */
  MPU_InitStruct.Enable = MPU_REGION_ENABLE;
  MPU_InitStruct.Number = MPU_REGION_NUMBER0;
  MPU_InitStruct.BaseAddress = 0x24000000;
  MPU_InitStruct.Size = MPU_REGION_SIZE_512KB;
  MPU_InitStruct.SubRegionDisable = 0x0;
  MPU_InitStruct.TypeExtField = MPU_TEX_LEVEL0;
  MPU_InitStruct.AccessPermission = MPU_REGION_FULL_ACCESS;
  MPU_InitStruct.DisableExec = MPU_INSTRUCTION_ACCESS_DISABLE;
  MPU_InitStruct.IsShareable = MPU_ACCESS_NOT_SHAREABLE;
  MPU_InitStruct.IsCacheable = MPU_ACCESS_CACHEABLE;
  MPU_InitStruct.IsBufferable = MPU_ACCESS_BUFFERABLE;

  HAL_MPU_ConfigRegion(&MPU_InitStruct);

  /** Initializes and configures the Region and the memory to be protected
  */
  MPU_InitStruct.Number = MPU_REGION_NUMBER1;
  MPU_InitStruct.BaseAddress = 0x70000000;
  MPU_InitStruct.Size = MPU_REGION_SIZE_512MB;
  MPU_InitStruct.AccessPermission = MPU_REGION_NO_ACCESS;
  MPU_InitStruct.IsCacheable = MPU_ACCESS_NOT_CACHEABLE;
  MPU_InitStruct.IsBufferable = MPU_ACCESS_NOT_BUFFERABLE;

  HAL_MPU_ConfigRegion(&MPU_InitStruct);

  /** Initializes and configures the Region and the memory to be protected
  */
  MPU_InitStruct.Number = MPU_REGION_NUMBER2;
  MPU_InitStruct.Size = MPU_REGION_SIZE_8MB;
  MPU_InitStruct.AccessPermission = MPU_REGION_FULL_ACCESS;
  MPU_InitStruct.IsCacheable = MPU_ACCESS_CACHEABLE;
  MPU_InitStruct.IsBufferable = MPU_ACCESS_BUFFERABLE;

  HAL_MPU_ConfigRegion(&MPU_InitStruct);

  /** Initializes and configures the Region and the memory to be protected
  */
  MPU_InitStruct.Number = MPU_REGION_NUMBER3;
  MPU_InitStruct.BaseAddress = 0x90000000;
  MPU_InitStruct.Size = MPU_REGION_SIZE_512MB;
  MPU_InitStruct.AccessPermission = MPU_REGION_NO_ACCESS;
  MPU_InitStruct.IsCacheable = MPU_ACCESS_NOT_CACHEABLE;
  MPU_InitStruct.IsBufferable = MPU_ACCESS_NOT_BUFFERABLE;

  HAL_MPU_ConfigRegion(&MPU_InitStruct);

  /** Initializes and configures the Region and the memory to be protected
  */
  MPU_InitStruct.Number = MPU_REGION_NUMBER4;
  MPU_InitStruct.Size = MPU_REGION_SIZE_64MB;
  MPU_InitStruct.AccessPermission = MPU_REGION_FULL_ACCESS;
  MPU_InitStruct.IsCacheable = MPU_ACCESS_CACHEABLE;

  HAL_MPU_ConfigRegion(&MPU_InitStruct);
  /* Enables the MPU */
  HAL_MPU_Enable(MPU_PRIVILEGED_DEFAULT);

}

void HAL_TIM_PeriodElapsedCallback(TIM_HandleTypeDef *htim)
{
  if (htim->Instance == TIM6) {
    HAL_IncTick();
  }
}

void Error_Handler(void)
{
}
